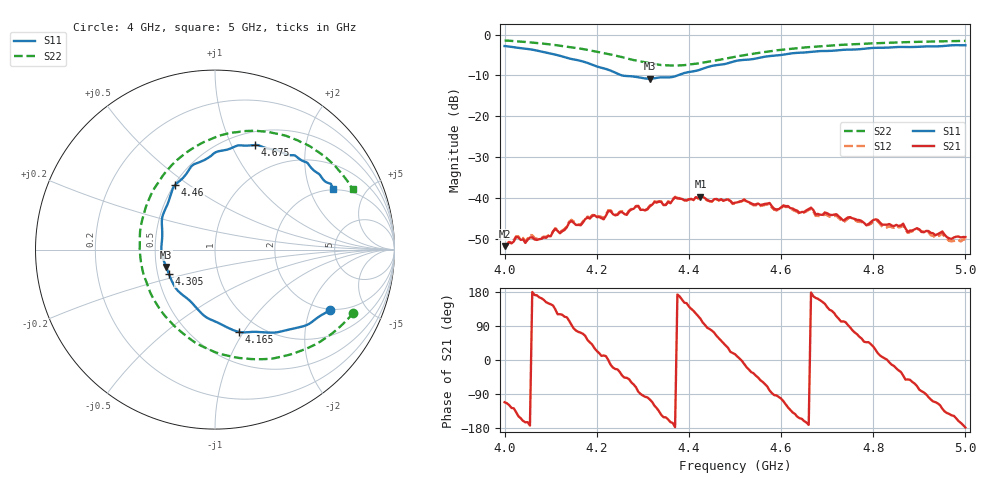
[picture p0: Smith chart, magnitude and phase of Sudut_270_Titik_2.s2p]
# Hz S RI R 50
! CMT, C1220, 16058040, 17.2.0/1
! Date: 15/08/2018 11:44:09
! Data: Format (Calibration Info)
! Freq  S11: Re/Im (F2)  S21: Re/Im (F2)  S12: Re/Im (F2)  S22: Re/Im (F2)
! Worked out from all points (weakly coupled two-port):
!   201 points, 4 GHz to 5 GHz, reference 50 ohm
!   highest |S21| = -39.63 dB at 4.425 GHz (marker M1); lowest = -51.8 dB at 4 GHz (marker M2)
!   lowest |S11| = -10.8 dB at 4.315 GHz (marker M3), VSWR 1.81, Z = 28.2 - j5.94 ohm
!   |S11| at or under -10 dB: 4.255 GHz to 4.375 GHz (120 MHz wide, 2.78 % of centre)
!   |S22| runs from -7.6 to -1.4 dB; largest |S21 - S12| = 0.00038
!   S11 on the Smith chart (normalised r, x): 4 GHz: 1.96, -2.78; 4.165 GHz: 0.80, -0.95; 4.305 GHz: 0.57, -0.17; 4.46 GHz: 0.51, +0.44; 4.675 GHz: 0.65, +1.23; 5 GHz: 1.94, +2.91
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4e9  0.6404 -0.3371  -0.000941 -0.0024  -0.000862 -0.00253  0.771 -0.3513
4.025e9  0.5868 -0.3686  -0.00248 -0.00224  -0.00237 -0.00243  0.7229 -0.4048
4.045e9  0.5365 -0.4057  -0.00272 -0.000758  -0.00284 -0.000929  0.6774 -0.4466
4.1e9  0.3653 -0.4572  -0.00286 0.00185  -0.00291 0.00189  0.5249 -0.5447
4.11e9  0.3311 -0.4623  -0.0029 0.00304  -0.00307 0.00299  0.4906 -0.559
4.12e9  0.2982 -0.4625  -0.0019 0.00319  -0.00208 0.0032  0.4567 -0.5727
4.145e9  0.2071 -0.4584  -0.000267 0.00522  -0.000404 0.0054  0.3635 -0.5969
4.165e9  0.1316 -0.4583  0.00143 0.00442  0.0014 0.00452  0.285 -0.6096
4.17e9  0.1155 -0.4538  0.00179 0.00469  0.00178 0.00487  0.2642 -0.6106
4.195e9  0.0333 -0.4158  0.00529 0.0032  0.00533 0.00344  0.1565 -0.6056
4.215e9  -0.035 -0.3849  0.00537 0.00113  0.00557 0.00122  0.0665 -0.5904
4.225e9  -0.064 -0.3657  0.00692 -2.48e-05  0.0071 3.86e-05  0.0208 -0.5786
4.305e9  -0.2567 -0.1361  -0.000862 -0.00701  -0.000875 -0.00707  -0.294 -0.3501
4.315e9  -0.272 -0.0967  -0.00192 -0.00763  -0.002 -0.0078  -0.323 -0.3072
4.335e9  -0.2967 -0.0302  -0.00639 -0.00638  -0.00651 -0.0064  -0.3703 -0.2147
4.425e9  -0.2584 0.2691  -0.0034 0.00986  -0.00321 0.00982  -0.3908 0.2182
4.46e9  -0.222 0.3598  0.00432 0.00874  0.0045 0.00853  -0.3259 0.3593
4.5e9  -0.1407 0.4514  0.00845 0.00231  0.00834 0.00223  -0.2256 0.4853
4.67e9  0.2125 0.5814  -0.00698 0.00147  -0.00667 0.00153  0.2597 0.6584
4.675e9  0.2209 0.5824  -0.00609 0.00178  -0.00578 0.0018  0.2719 0.6582
4.835e9  0.4853 0.4956  0.00478 -0.000548  0.00448 -0.000366  0.5854 0.5369
5e9  0.6569 0.3402  -0.00333 -0.000103  -0.00313 -0.000263  0.7662 0.3378
